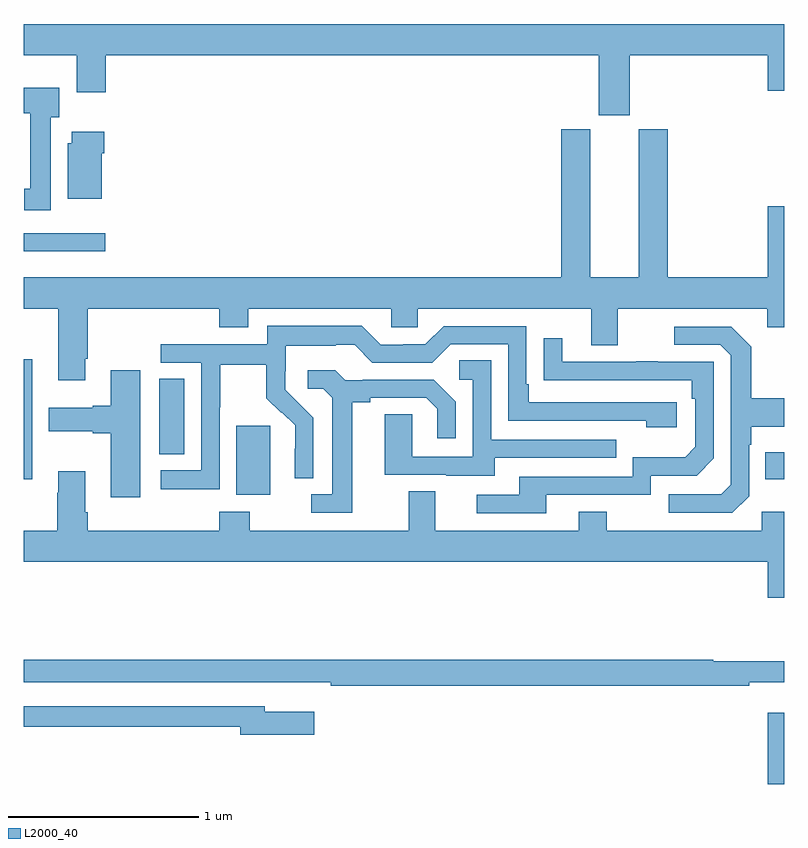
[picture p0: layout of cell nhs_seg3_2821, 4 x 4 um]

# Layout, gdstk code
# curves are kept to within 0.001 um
import gdstk
lib = gdstk.Library(unit=1e-6, precision=1e-09)
def R(c, l, rs):  # rectangles x0, y0, x1, y1
    for r in rs: c.add(gdstk.rectangle(r[:2], r[2:], *l))
def P(c, l, *ps):  # polygons
    for p in ps: c.add(gdstk.Polygon(p, *l))
L2000_40 = (2000, 40)

nhs_seg3_2821 = lib.new_cell('nhs_seg3_2821')
R(nhs_seg3_2821, L2000_40, [(260.912,714.4,261,714.775), (258.119,715.922,258.298,716.283), (257,716.003,257.046,716.632), (260.899,716.003,261,716.143), (257.714,716.134,257.845,716.531), (257,717.2,257.428,717.297)])
P(nhs_seg3_2821, L2000_40, [(260.188,718.232),(260.912,718.232),(260.912,718.044),(261,718.044),(261,718.396),(257,718.396),(257,718.232),(257.279,718.232),(257.279,718.038),(257.432,718.038),(257.432,718.232),(260.024,718.232),(260.024,717.915),(260.188,717.915)],
  [(257.143,717.906),(257.188,717.906),(257.188,718.06),(257,718.06),(257,717.926),(257.036,717.926),(257.036,717.53),(257.003,717.53),(257.003,717.417),(257.143,717.417)],
  [(257.323,716.635),(257.336,716.635),(257.336,716.9),(258.029,716.9),(258.029,716.801),(258.181,716.801),(258.181,716.9),(258.933,716.9),(258.933,716.802),(259.071,716.802),(259.071,716.9),(259.985,716.9),(259.985,716.706),(260.125,716.706),(260.125,716.9),(260.909,716.9),(260.909,716.801),(261,716.801),(261,717.439),(260.912,717.439),(260.912,717.064),(260.387,717.064),(260.387,717.843),(260.234,717.843),(260.234,717.064),(259.978,717.064),(259.978,717.843),(259.826,717.843),(259.826,717.064),(257,717.064),(257,716.9),(257.183,716.9),(257.183,716.523),(257.323,716.523)],
  [(257.41,717.716),(257.423,717.716),(257.423,717.829),(257.252,717.829),(257.252,717.768),(257.231,717.768),(257.231,717.476),(257.41,717.476)],
  [(258.03,716.38),(258.033,716.38),(258.033,716.604),(258.277,716.604),(258.277,716.429),(258.354,716.352),(258.357,716.355),(258.428,716.285),(258.428,716.162),(258.426,716.162),(258.426,716.008),(258.522,716.008),(258.522,716.326),(258.376,716.474),(258.376,716.571),(258.378,716.571),(258.378,716.705),(258.641,716.705),(258.641,716.709),(258.741,716.709),(258.834,716.616),(259.149,716.616),(259.245,716.712),(259.548,716.712),(259.548,716.31),(260.273,716.31),(260.273,716.276),(260.434,716.276),(260.434,716.406),(259.657,716.406),(259.657,716.503),(259.644,716.503),(259.644,716.808),(259.209,716.808),(259.113,716.712),(258.995,716.712),(258.995,716.709),(258.879,716.709),(258.779,716.809),(258.282,716.809),(258.282,716.712),(257.721,716.712),(257.721,716.616),(257.934,716.616),(257.934,716.049),(257.721,716.049),(257.721,715.951),(258.03,715.951)],
  [(260.814,715.914),(260.814,716.183),(260.827,716.183),(260.827,716.279),(261,716.279),(261,716.427),(260.827,716.427),(260.827,716.699),(260.721,716.805),(260.421,716.805),(260.421,716.709),(260.664,716.709),(260.718,716.655),(260.718,715.974),(260.667,715.923),(260.391,715.923),(260.391,715.827),(260.727,715.827)],
  [(259.747,715.92),(260.298,715.92),(260.298,716.022),(260.538,716.022),(260.628,716.112),(260.628,716.619),(260.333,716.619),(260.333,716.624),(260.221,716.624),(260.221,716.619),(259.831,716.619),(259.831,716.743),(259.735,716.743),(259.735,716.524),(260.512,716.523),(260.512,716.426),(260.532,716.426),(260.532,716.172),(260.479,716.119),(260.202,716.119),(260.202,716.016),(259.607,716.016),(259.607,715.92),(259.383,715.92),(259.383,715.824),(259.747,715.824)],
  [(259.477,716.115),(260.117,716.115),(260.117,716.211),(259.458,716.211),(259.458,716.627),(259.29,716.627),(259.29,716.526),(259.362,716.526),(259.362,716.121),(259.044,716.121),(259.044,716.345),(258.899,716.345),(258.899,716.025),(259.223,716.025),(259.223,716.021),(259.477,716.021)],
  [(258.727,716.408),(258.823,716.408),(258.823,716.43),(259.118,716.43),(259.175,716.373),(259.175,716.217),(259.272,716.217),(259.272,716.41),(259.156,716.526),(258.784,716.526),(258.784,716.523),(258.69,716.523),(258.638,716.575),(258.495,716.575),(258.495,716.478),(258.576,716.478),(258.623,716.431),(258.623,715.923),(258.513,715.923),(258.513,715.827),(258.727,715.827)],
  [(257.614,716.575),(257.459,716.575),(257.459,716.39),(257.363,716.39),(257.363,716.377),(257.133,716.377),(257.133,716.255),(257.363,716.255),(257.363,716.243),(257.459,716.243),(257.459,715.908),(257.614,715.908)],
  [(261,715.831),(260.88,715.831),(260.88,715.732),(260.067,715.732),(260.067,715.831),(259.919,715.831),(259.919,715.732),(259.165,715.732),(259.165,715.94),(259.025,715.94),(259.025,715.732),(258.189,715.732),(258.189,715.831),(258.029,715.831),(258.029,715.732),(257.336,715.732),(257.336,715.828),(257.323,715.828),(257.323,716.044),(257.183,716.044),(257.183,715.931),(257.176,715.931),(257.176,715.732),(257,715.732),(257,715.568),(260.912,715.568),(260.912,715.38),(261,715.38)],
  [(260.816,714.935),(261,714.935),(261,715.045),(260.627,715.045),(260.627,715.052),(257,715.052),(257,714.936),(258.364,714.936),(258.364,714.935),(258.616,714.935),(258.616,714.916),(260.816,714.916)],
  [(258.529,714.781),(258.268,714.781),(258.268,714.81),(257,714.81),(257,714.702),(258.14,714.702),(258.14,714.659),(258.529,714.659)])

lib.write_gds('nhs_seg3_2821.gds')
